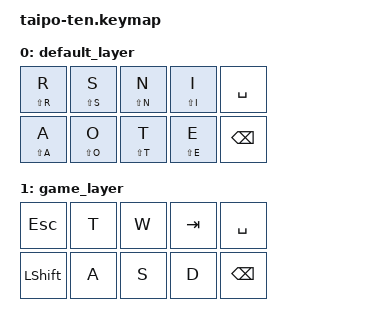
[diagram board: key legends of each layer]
#include <dt-bindings/zmk/keys.h>
#include <behaviors.dtsi>
#include <dt-bindings/zmk/bt.h>
#include <dt-bindings/zmk/modifiers.h> 
#define STICKY_TIMEOUT TIMEOUT_XLONG

#define KP_R 0
#define KP_S 1
#define KP_N 2
#define KP_I 3
#define KP_SPACE 4
#define HYPER LC(LA(LS(LGUI)))

#define KP_A 5
#define KP_O 6
#define KP_T 7
#define KP_E 8 
#define KP_BSPC 9

#define COMBO_DEF(NAME, BINDINGS, KEYPOS_LIST) \
    combo_##NAME { \
        timeout-ms = <100>; \
        bindings = <BINDINGS>; \
        key-positions = <KEYPOS_LIST>; \
        layers = <0 1>; \
    };

&mt {
    tapping-term-ms = <500>;
};
/ {
    keymap {
        compatible = "zmk,keymap";

        default_layer {
            bindings = <
                &mt LS(R) R       &mt LS(S) S       &mt LS(N) N       &mt LS(I) I       &kp SPACE
                &mt LS(A) A       &mt LS(O) O       &mt LS(T) T       &mt LS(E) E       &kp BSPC
            >;
        };
        game_layer {
            bindings = <
                &kp ESC       &kp T       &kp W       &kp TAB       &kp SPACE
                &kp LSHIFT       &kp A       &kp S       &kp D       &kp BSPC
            >;
        };
    };
 
    combos {
        compatible = "zmk,combos";

        COMBO_DEF(B, &mt LS(B) B, KP_R KP_S)
        COMBO_DEF(C, &mt LS(C) C, KP_O KP_E)
        COMBO_DEF(D, &mt LS(D) D, KP_A KP_E)
        COMBO_DEF(F, &mt LS(F) F, KP_S KP_I)
        COMBO_DEF(G, &mt LS(G) G, KP_R KP_I)
        COMBO_DEF(H, &mt LS(H) H, KP_T KP_E)
        COMBO_DEF(J, &mt LS(J) J, KP_A KP_N)
        COMBO_DEF(K, &mt LS(K) K, KP_O KP_I)
        COMBO_DEF(L, &mt LS(L) L, KP_A KP_O)
        COMBO_DEF(M, &mt LS(M) M, KP_R KP_E)
        COMBO_DEF(P, &mt LS(P) P, KP_S KP_N)
        COMBO_DEF(Q, &mt LS(Q) Q, KP_A KP_T)
        COMBO_DEF(U, &mt LS(U) U, KP_O KP_T)
        COMBO_DEF(V, &mt LS(V) V, KP_S KP_E)
        COMBO_DEF(W, &mt LS(W) W, KP_A KP_I)
        COMBO_DEF(X, &mt LS(X) X, KP_R KP_T)
        COMBO_DEF(Y, &mt LS(Y) Y, KP_N KP_I)
        COMBO_DEF(Z, &mt LS(Z) Z, KP_R KP_N)

        COMBO_DEF(N0, &kp N0, KP_E KP_T KP_SPACE)
        COMBO_DEF(N1, &kp N1, KP_E KP_O KP_SPACE)
        COMBO_DEF(N2, &kp N2, KP_T KP_O KP_SPACE)
        COMBO_DEF(N3, &kp N3, KP_T KP_A KP_SPACE)
        COMBO_DEF(N4, &kp N4, KP_O KP_A KP_SPACE)
        COMBO_DEF(N5, &kp N5, KP_I KP_N KP_SPACE)
        COMBO_DEF(N6, &kp N6, KP_I KP_S KP_SPACE)
        COMBO_DEF(N7, &kp N7, KP_N KP_S KP_SPACE)
        COMBO_DEF(N8, &kp N8, KP_N KP_R KP_SPACE)
        COMBO_DEF(N9, &kp N9, KP_S KP_R KP_SPACE)

        COMBO_DEF(LPAR, &kp LPAR, KP_E KP_BSPC)
        COMBO_DEF(RPAR, &kp RPAR, KP_I KP_BSPC)
        COMBO_DEF(LBKT, &kp LBKT, KP_T KP_BSPC)
        COMBO_DEF(RBKT, &kp RBKT, KP_N KP_BSPC)
        COMBO_DEF(LBRC, &kp LBRC, KP_O KP_BSPC)
        COMBO_DEF(RBRC, &kp RBRC, KP_S KP_BSPC)
        COMBO_DEF(LT,   &kp LT,   KP_A KP_BSPC)
        COMBO_DEF(GT,   &kp GT,   KP_R KP_BSPC)
        COMBO_DEF(HASH,        &kp HASH,      KP_R KP_I KP_BSPC)
        COMBO_DEF(CARET,      &kp CARET,      KP_R KP_T KP_BSPC) 
        COMBO_DEF(ASTERISK,    &kp ASTERISK,  KP_S KP_E KP_BSPC)
        COMBO_DEF(DLLR,        &kp DLLR,      KP_R KP_E KP_BSPC) 
        COMBO_DEF(BACKSLASH,      &kp BACKSLASH,    KP_S KP_T KP_SPACE)
        COMBO_DEF(PIPE,        &kp PIPE,      KP_S KP_T KP_BSPC)
        COMBO_DEF(SLASH,       &kp SLASH,     KP_S KP_T)
        COMBO_DEF(COLON,       &kp COLON,     KP_R KP_O)
        COMBO_DEF(SEMICOLON,   &kp SCLN,      KP_R KP_O KP_SPACE) 
        COMBO_DEF(COMMA,       &kp COMMA,     KP_N KP_E)
        COMBO_DEF(DOT,         &kp DOT,       KP_N KP_E KP_SPACE)
        COMBO_DEF(TILDE,       &kp TILDE,     KP_N KP_E KP_BSPC)
        COMBO_DEF(AT,          &kp AT,        KP_A KP_E KP_BSPC)
        COMBO_DEF(PLUS,        &kp PLUS,      KP_O KP_I KP_BSPC)
        COMBO_DEF(EQUAL,       &kp EQUAL,     KP_A KP_N KP_BSPC)
        COMBO_DEF(AMPS,        &kp AMPS,      KP_A KP_I KP_BSPC)
        COMBO_DEF(MINUS,       &kp MINUS,     KP_O KP_N)
        COMBO_DEF(UNDERSCORE,&kp UNDER,     KP_O KP_N KP_SPACE) 
        COMBO_DEF(PERCENT,     &kp PERCENT,   KP_O KP_N KP_BSPC)
        COMBO_DEF(QMARK,       &kp QMARK,     KP_T KP_I)
        COMBO_DEF(EXCLAMATION,&kp EXCL,      KP_T KP_I KP_SPACE) 
        COMBO_DEF(SQT,         &kp SQT,       KP_A KP_S)
        COMBO_DEF(DQT,         &kp DQT,       KP_A KP_S KP_SPACE)
        COMBO_DEF(GRAVE,       &kp GRAVE,     KP_A KP_S KP_BSPC)
        COMBO_DEF(TAB,         &kp TAB,       KP_S KP_N KP_I)
        COMBO_DEF(ENTER,       &kp RET,       KP_O KP_T KP_E)
        COMBO_DEF(ESC,         &kp ESC,       KP_R KP_SPACE)
        COMBO_DEF(LEFT,        &kp LEFT,      KP_O KP_SPACE)
        COMBO_DEF(UP,          &kp UP,        KP_N KP_SPACE)
        COMBO_DEF(RIGHT,       &kp RIGHT,     KP_E KP_SPACE)
        COMBO_DEF(DOWN,        &kp DOWN,      KP_T KP_SPACE)

        COMBO_DEF(BT0, &bt BT_SEL 0, KP_SPACE KP_BSPC KP_E)
        COMBO_DEF(BT1, &bt BT_SEL 1, KP_SPACE KP_BSPC KP_T)
        COMBO_DEF(BT2, &bt BT_SEL 2, KP_SPACE KP_BSPC KP_O)
        COMBO_DEF(BT_CLR, &bt BT_CLR, KP_SPACE KP_BSPC KP_A)

        COMBO_DEF(TOG1, &tog 1, KP_SPACE KP_BSPC KP_I)
        COMBO_DEF(TOG0, &tog 1, KP_SPACE KP_BSPC TAB)

        COMBO_DEF(GUI,   &sk LGUI,   KP_E KP_I)
        COMBO_DEF(CTRL,  &sk LCTRL,  KP_T KP_N)
        COMBO_DEF(HYPER,   &sk HYPER,   KP_O KP_S)
        COMBO_DEF(SHIFT, &sk LSHFT,  KP_A KP_R)
        COMBO_DEF(DEL,   &kp DEL,     KP_S KP_N KP_I KP_SPACE) 
    };
};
